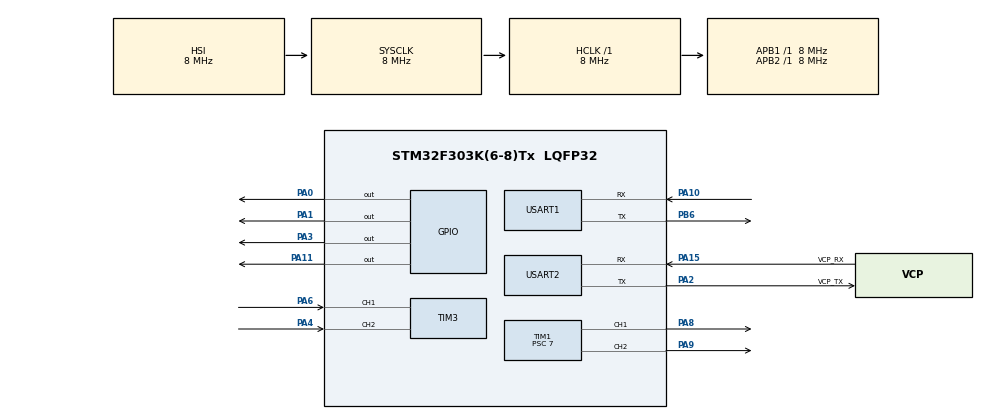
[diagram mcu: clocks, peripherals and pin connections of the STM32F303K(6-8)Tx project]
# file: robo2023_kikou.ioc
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Mcu.Family=STM32F3
Mcu.Name=STM32F303K(6-8)Tx
Mcu.Package=LQFP32
NVIC.PriorityGroup=NVIC_PRIORITYGROUP_4
NVIC.TIM3_IRQn=true\:0\:0\:false\:false\:true\:true\:true\:true
NVIC.USART1_IRQn=true\:0\:0\:false\:false\:true\:true\:true\:true
PA0.Signal=GPIO_Output
PA1.Signal=GPIO_Output
PA10.Mode=Asynchronous
PA10.Signal=USART1_RX
PA11.Signal=GPIO_Output
PA13.GPIO_Label=SWDIO
PA13.Mode=Serial_Wire
PA13.Signal=SYS_JTMS-SWDIO
PA14.GPIO_Label=SWCLK
PA14.Mode=Serial_Wire
PA14.Signal=SYS_JTCK-SWCLK
PA15.GPIO_Label=VCP_RX
PA15.Mode=Asynchronous
PA15.Signal=USART2_RX
PA2.GPIO_Label=VCP_TX
PA2.Mode=Asynchronous
PA2.Signal=USART2_TX
PA3.Signal=GPIO_Output
PA4.Signal=S_TIM3_CH2
PA6.Signal=S_TIM3_CH1
PA8.Signal=S_TIM1_CH1
PA9.Signal=S_TIM1_CH2
PB6.Mode=Asynchronous
PB6.Signal=USART1_TX
PF0\ /\ OSC_IN.GPIO_Label=MCO
PF0\ /\ OSC_IN.Mode=HSE-External-Clock-Source
PF0\ /\ OSC_IN.Signal=RCC_OSC_IN
ProjectManager.HeapSize=0x200
ProjectManager.StackSize=0x400
ProjectManager.TargetToolchain=STM32CubeIDE
RCC.AHBFreq_Value=8000000
RCC.APB1Freq_Value=8000000
RCC.APB2Freq_Value=8000000
RCC.CortexFreq_Value=8000000
RCC.HSE_VALUE=8000000
RCC.HSI_VALUE=8000000
RCC.SYSCLKFreq_VALUE=8000000
SH.S_TIM1_CH1.0=TIM1_CH1,PWM Generation1 CH1
SH.S_TIM1_CH2.0=TIM1_CH2,PWM Generation2 CH2
SH.S_TIM3_CH1.0=TIM3_CH1,Encoder_Interface
SH.S_TIM3_CH2.0=TIM3_CH2,Encoder_Interface
TIM1.Channel-PWM\ Generation1\ CH1=TIM_CHANNEL_1
TIM1.Channel-PWM\ Generation2\ CH2=TIM_CHANNEL_2
TIM1.Period=999
TIM1.Prescaler=7
TIM3.EncoderMode=TIM_ENCODERMODE_TI12
USART1.VirtualMode-Asynchronous=VM_ASYNC
USART2.VirtualMode-Asynchronous=VM_ASYNC
board=NUCLEO-F303K8

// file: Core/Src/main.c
/* USER CODE BEGIN Header */
/**
  ******************************************************************************
  * @file           : main.c
  * @brief          : Main program body
  ******************************************************************************
  * @attention
  *
  * Copyright (c) 2023 STMicroelectronics.
  * All rights reserved.
  *
  * This software is licensed under terms that can be found in the LICENSE file
  * in the root directory of this software component.
  * If no LICENSE file comes with this software, it is provided AS-IS.
  *
  ******************************************************************************
  */
/* USER CODE END Header */
#include "main.h"

/* USER CODE BEGIN Includes */
#include <stdio.h>
#include <string.h>
#include <stdlib.h>
#include <math.h>
/* USER CODE END Includes */

TIM_HandleTypeDef htim1;
TIM_HandleTypeDef htim3;

UART_HandleTypeDef huart1;
UART_HandleTypeDef huart2;

void SystemClock_Config(void);
static void MX_GPIO_Init(void);
static void MX_USART2_UART_Init(void);
static void MX_TIM1_Init(void);
static void MX_USART1_UART_Init(void);
static void MX_TIM3_Init(void);

/* USER CODE BEGIN 0 */
#define RX_BUFFER_SIZE 64
uint8_t rxBuffer[RX_BUFFER_SIZE];
uint32_t rxIndex = 0;
char string[RX_BUFFER_SIZE];

void copy()
{
	for(int i=0;i<RX_BUFFER_SIZE;i++)
	{
		string[i]=rxBuffer[i];
	}
}

void HAL_UART_RxCpltCallback(UART_HandleTypeDef *huart)
{
  if (huart == &huart1)
  {
	  if (rxBuffer[rxIndex - 1] == '\r')
	  {
		  //Buffer-setting
		  rxBuffer[rxIndex] = '\0';
		  //HAL_UART_Transmit(&huart2, rxBuffer, rxIndex, HAL_MAX_DELAY);
		  copy(); //Copy string from Buffer
		  rxIndex = 0;
		  memset(rxBuffer, '\0', RX_BUFFER_SIZE); //バッファをクリア
	  }
	  //receive
	  HAL_UART_Receive_IT(&huart1, &rxBuffer[rxIndex], 1);
	  rxIndex++;
  }
}

//オーバ�???��?��フロー・アン??��?��?ーフローの回数をカウントするグローバル変数
int overflowcnt = 0;
//オーバ�???��?��フローアン??��?��?ーフローすると自動的に呼ばれる関数
void HAL_TIM_PeriodElapsedCallback(TIM_HandleTypeDef* htim)
{
        //??��?��?バッグ用の出力，消してよい???��?��?
    //HAL_UART_Transmit( &huart2, "OVERFLOW!\r\n", 12, 0xFFFF);
        //こ�???��?��関数自体�???��?��TIM3で無くても呼ばれてしま??��?��?可能性がある�???��?��で???��?��??��?��TIM3の割り込みであることを確認す??��?��?
    if(htim->Instance == TIM3){
                //割り込みフラグクリア???��?��??��?��これをしな??��?��?とこ�???��?��関数が�?数回呼び出され??��?��?
        __HAL_TIM_CLEAR_FLAG(&htim3, TIM_IT_UPDATE);
        if(__HAL_TIM_IS_TIM_COUNTING_DOWN(&htim3)) //0 ??��?��? 65535
        {
            overflowcnt --;
        }
        else //65535 ??��?��? 0
        {
            overflowcnt ++;
        }
    }
}
/* USER CODE END 0 */

int main(void)
{
  /* USER CODE BEGIN 1 */
	int i,j=0;
	float r,arg;
	int dash,above,gather;
	char moji[RX_BUFFER_SIZE];
	char test[32];
	char w1[7],w2[7],w3[2],w4[2],w5[3];

	int reset;
	char check[RX_BUFFER_SIZE];
	memset(check,'\0',RX_BUFFER_SIZE);
  /* USER CODE END 1 */

  /* MCU Configuration--------------------------------------------------------*/

  /* Reset of all peripherals, Initializes the Flash interface and the Systick. */
  HAL_Init();

  /* Configure the system clock */
  SystemClock_Config();

  /* Initialize all configured peripherals */
  MX_GPIO_Init();
  MX_USART2_UART_Init();
  MX_TIM1_Init();
  MX_USART1_UART_Init();
  MX_TIM3_Init();
  /* USER CODE BEGIN 2 */
  if(HAL_TIM_PWM_Start(&htim1,TIM_CHANNEL_1) != HAL_OK){Error_Handler();}
  if(HAL_TIM_PWM_Start(&htim1,TIM_CHANNEL_2) != HAL_OK){Error_Handler();}

  HAL_UART_Receive_IT(&huart1, rxBuffer, 1);

  HAL_TIM_Encoder_Start(&htim3,TIM_CHANNEL_ALL);  //エンコー??��?��?読み取りスター??��?��?
  HAL_TIM_Base_Start_IT(&htim3);  //割り込み有効??��?��?
  int cnt;
  overflowcnt = 0;

  //file-reading
  /*FILE *fp = NULL;
  char f[256] = "enc.txt";
  fp = fopen( f, "r" );
  fscanf(fp,"%d",&cnt);
  fclose(fp);*/
  /* USER CODE END 2 */

  /* Infinite loop */
  /* USER CODE BEGIN WHILE */
  while (1)
  {
	  //string-init
	  memset(moji,'\0',RX_BUFFER_SIZE);
	  memset(test,'\0',32);
	  memset(w1,'\0',7);
	  memset(w2,'\0',7);
	  memset(w3,'\0',2);
	  memset(w4,'\0',2);
	  memset(w5,'\0',3);
	  //start-uart
	  HAL_UART_Receive_IT(&huart1, rxBuffer, 1);
	  //string-set
	  for(i=0;i<RX_BUFFER_SIZE;i++)//
	  {
		  moji[j]=string[i];
		  if(moji[j] == '\r')
		  {
			  j=0;
			  break;
		  }
		  else if(moji[j] != '\0')
		  {
			  j++;
		  }
	  }
	  //value-set
	  for(i=0;i<6;i++)
	  {
		  w1[i]=moji[2+i];
		  w2[i]=moji[13+i];
	  }
	  w3[0]=moji[25];
	  w4[0]=moji[33];
	  for(i=0;i<2;i++)
	  {
		  w5[i]=moji[42+i];
	  }
	  r = atoff(w1);
	  arg = atoff(w2);
	  dash = atoi(w3);
	  above = atoi(w4);
	  gather = atoi(w5);
    /* USER CODE END WHILE */

    /* USER CODE BEGIN 3 */
	  cnt = (long)(overflowcnt) * 0x10000 + (long)TIM3 -> CNT;
	  snprintf(test,32,"%d,%2d,%6d\n\r",above,gather,cnt);
	  HAL_UART_Transmit(&huart2, (uint8_t*)test, 32,HAL_MAX_DELAY);
	  //snprintf(usr_buf,RX_BUFFER_SIZE,"Encoder: %d\n\r",count);
	  //HAL_UART_Transmit(&huart2, (uint8_t *)usr_buf, sizeof(usr_buf), 100);
	  //HAL_Delay(1000);

	  if(gather==1)//switch1-on
	  {
		  HAL_GPIO_WritePin(GPIOA,GPIO_PIN_0,GPIO_PIN_SET);
		  __HAL_TIM_SET_COMPARE(&htim1,TIM_CHANNEL_1,300);
	  }
	  else if(gather==-1)//switch2-on
	  {
		  HAL_GPIO_WritePin(GPIOA,GPIO_PIN_0,GPIO_PIN_RESET);
		  __HAL_TIM_SET_COMPARE(&htim1,TIM_CHANNEL_1,300);
	  }
	  else//switch2-off
   	  {
		  __HAL_TIM_SET_COMPARE(&htim1,TIM_CHANNEL_1,0);
	  }

	  if(above==1)//switch3-on
	  {
		  HAL_GPIO_WritePin(GPIOA,GPIO_PIN_3,GPIO_PIN_SET);
		  __HAL_TIM_SET_COMPARE(&htim1,TIM_CHANNEL_2,300);
	  }
	  else//switch3-off
	  {
		  __HAL_TIM_SET_COMPARE(&htim1,TIM_CHANNEL_2,0);
	  }

	  //string-reset
	  if(strcmp(moji,check)==0)
	  {
		  reset++;
	  }
	  else
	  {
		  reset=0;
		  memset(check,'\0',RX_BUFFER_SIZE);
	  }
	  if(reset>=25)
	  {
		  HAL_GPIO_WritePin(GPIOA, GPIO_PIN_11, GPIO_PIN_RESET);
		  memset(string,'\0',RX_BUFFER_SIZE);
	  }
	  else
	  {
		  HAL_GPIO_WritePin(GPIOA, GPIO_PIN_11, GPIO_PIN_SET);
	  }
	  strcpy(check,moji);
  }

  //file-writing
  /*fp = fopen( f, "w" );
  fprintf(fp,"%d\n",cnt);
  fclose(fp);*/
  /* USER CODE END 3 */
}

void SystemClock_Config(void)
{
  RCC_OscInitTypeDef RCC_OscInitStruct = {0};
  RCC_ClkInitTypeDef RCC_ClkInitStruct = {0};
  RCC_PeriphCLKInitTypeDef PeriphClkInit = {0};

  /** Initializes the RCC Oscillators according to the specified parameters
  * in the RCC_OscInitTypeDef structure.
  */
  RCC_OscInitStruct.OscillatorType = RCC_OSCILLATORTYPE_HSI;
  RCC_OscInitStruct.HSIState = RCC_HSI_ON;
  RCC_OscInitStruct.HSICalibrationValue = RCC_HSICALIBRATION_DEFAULT;
  RCC_OscInitStruct.PLL.PLLState = RCC_PLL_NONE;
  if (HAL_RCC_OscConfig(&RCC_OscInitStruct) != HAL_OK)
  {
    Error_Handler();
  }

  /** Initializes the CPU, AHB and APB buses clocks
  */
  RCC_ClkInitStruct.ClockType = RCC_CLOCKTYPE_HCLK|RCC_CLOCKTYPE_SYSCLK
                              |RCC_CLOCKTYPE_PCLK1|RCC_CLOCKTYPE_PCLK2;
  RCC_ClkInitStruct.SYSCLKSource = RCC_SYSCLKSOURCE_HSI;
  RCC_ClkInitStruct.AHBCLKDivider = RCC_SYSCLK_DIV1;
  RCC_ClkInitStruct.APB1CLKDivider = RCC_HCLK_DIV1;
  RCC_ClkInitStruct.APB2CLKDivider = RCC_HCLK_DIV1;

  if (HAL_RCC_ClockConfig(&RCC_ClkInitStruct, FLASH_LATENCY_0) != HAL_OK)
  {
    Error_Handler();
  }
  PeriphClkInit.PeriphClockSelection = RCC_PERIPHCLK_USART1|RCC_PERIPHCLK_TIM1;
  PeriphClkInit.Usart1ClockSelection = RCC_USART1CLKSOURCE_PCLK1;
  PeriphClkInit.Tim1ClockSelection = RCC_TIM1CLK_HCLK;
  if (HAL_RCCEx_PeriphCLKConfig(&PeriphClkInit) != HAL_OK)
  {
    Error_Handler();
  }
}

static void MX_TIM1_Init(void)
{

  TIM_MasterConfigTypeDef sMasterConfig = {0};
  TIM_OC_InitTypeDef sConfigOC = {0};
  TIM_BreakDeadTimeConfigTypeDef sBreakDeadTimeConfig = {0};

  htim1.Instance = TIM1;
  htim1.Init.Prescaler = 7;
  htim1.Init.CounterMode = TIM_COUNTERMODE_UP;
  htim1.Init.Period = 999;
  htim1.Init.ClockDivision = TIM_CLOCKDIVISION_DIV1;
  htim1.Init.RepetitionCounter = 0;
  htim1.Init.AutoReloadPreload = TIM_AUTORELOAD_PRELOAD_DISABLE;
  if (HAL_TIM_PWM_Init(&htim1) != HAL_OK)
  {
    Error_Handler();
  }
  sMasterConfig.MasterOutputTrigger = TIM_TRGO_RESET;
  sMasterConfig.MasterOutputTrigger2 = TIM_TRGO2_RESET;
  sMasterConfig.MasterSlaveMode = TIM_MASTERSLAVEMODE_DISABLE;
  if (HAL_TIMEx_MasterConfigSynchronization(&htim1, &sMasterConfig) != HAL_OK)
  {
    Error_Handler();
  }
  sConfigOC.OCMode = TIM_OCMODE_PWM1;
  sConfigOC.Pulse = 0;
  sConfigOC.OCPolarity = TIM_OCPOLARITY_HIGH;
  sConfigOC.OCNPolarity = TIM_OCNPOLARITY_HIGH;
  sConfigOC.OCFastMode = TIM_OCFAST_DISABLE;
  sConfigOC.OCIdleState = TIM_OCIDLESTATE_RESET;
  sConfigOC.OCNIdleState = TIM_OCNIDLESTATE_RESET;
  if (HAL_TIM_PWM_ConfigChannel(&htim1, &sConfigOC, TIM_CHANNEL_1) != HAL_OK)
  {
    Error_Handler();
  }
  if (HAL_TIM_PWM_ConfigChannel(&htim1, &sConfigOC, TIM_CHANNEL_2) != HAL_OK)
  {
    Error_Handler();
  }
  sBreakDeadTimeConfig.OffStateRunMode = TIM_OSSR_DISABLE;
  sBreakDeadTimeConfig.OffStateIDLEMode = TIM_OSSI_DISABLE;
  sBreakDeadTimeConfig.LockLevel = TIM_LOCKLEVEL_OFF;
  sBreakDeadTimeConfig.DeadTime = 0;
  sBreakDeadTimeConfig.BreakState = TIM_BREAK_DISABLE;
  sBreakDeadTimeConfig.BreakPolarity = TIM_BREAKPOLARITY_HIGH;
  sBreakDeadTimeConfig.BreakFilter = 0;
  sBreakDeadTimeConfig.Break2State = TIM_BREAK2_DISABLE;
  sBreakDeadTimeConfig.Break2Polarity = TIM_BREAK2POLARITY_HIGH;
  sBreakDeadTimeConfig.Break2Filter = 0;
  sBreakDeadTimeConfig.AutomaticOutput = TIM_AUTOMATICOUTPUT_DISABLE;
  if (HAL_TIMEx_ConfigBreakDeadTime(&htim1, &sBreakDeadTimeConfig) != HAL_OK)
  {
    Error_Handler();
  }
  HAL_TIM_MspPostInit(&htim1);

}

static void MX_TIM3_Init(void)
{

  TIM_Encoder_InitTypeDef sConfig = {0};
  TIM_MasterConfigTypeDef sMasterConfig = {0};

  htim3.Instance = TIM3;
  htim3.Init.Prescaler = 0;
  htim3.Init.CounterMode = TIM_COUNTERMODE_UP;
  htim3.Init.Period = 65535;
  htim3.Init.ClockDivision = TIM_CLOCKDIVISION_DIV1;
  htim3.Init.AutoReloadPreload = TIM_AUTORELOAD_PRELOAD_DISABLE;
  sConfig.EncoderMode = TIM_ENCODERMODE_TI12;
  sConfig.IC1Polarity = TIM_ICPOLARITY_RISING;
  sConfig.IC1Selection = TIM_ICSELECTION_DIRECTTI;
  sConfig.IC1Prescaler = TIM_ICPSC_DIV1;
  sConfig.IC1Filter = 0;
  sConfig.IC2Polarity = TIM_ICPOLARITY_RISING;
  sConfig.IC2Selection = TIM_ICSELECTION_DIRECTTI;
  sConfig.IC2Prescaler = TIM_ICPSC_DIV1;
  sConfig.IC2Filter = 0;
  if (HAL_TIM_Encoder_Init(&htim3, &sConfig) != HAL_OK)
  {
    Error_Handler();
  }
  sMasterConfig.MasterOutputTrigger = TIM_TRGO_RESET;
  sMasterConfig.MasterSlaveMode = TIM_MASTERSLAVEMODE_DISABLE;
  if (HAL_TIMEx_MasterConfigSynchronization(&htim3, &sMasterConfig) != HAL_OK)
  {
    Error_Handler();
  }

}

static void MX_USART1_UART_Init(void)
{

  huart1.Instance = USART1;
  huart1.Init.BaudRate = 38400;
  huart1.Init.WordLength = UART_WORDLENGTH_8B;
  huart1.Init.StopBits = UART_STOPBITS_1;
  huart1.Init.Parity = UART_PARITY_NONE;
  huart1.Init.Mode = UART_MODE_TX_RX;
  huart1.Init.HwFlowCtl = UART_HWCONTROL_NONE;
  huart1.Init.OverSampling = UART_OVERSAMPLING_16;
  huart1.Init.OneBitSampling = UART_ONE_BIT_SAMPLE_DISABLE;
  huart1.AdvancedInit.AdvFeatureInit = UART_ADVFEATURE_NO_INIT;
  if (HAL_UART_Init(&huart1) != HAL_OK)
  {
    Error_Handler();
  }

}

static void MX_USART2_UART_Init(void)
{

  huart2.Instance = USART2;
  huart2.Init.BaudRate = 38400;
  huart2.Init.WordLength = UART_WORDLENGTH_8B;
  huart2.Init.StopBits = UART_STOPBITS_1;
  huart2.Init.Parity = UART_PARITY_NONE;
  huart2.Init.Mode = UART_MODE_TX_RX;
  huart2.Init.HwFlowCtl = UART_HWCONTROL_NONE;
  huart2.Init.OverSampling = UART_OVERSAMPLING_16;
  huart2.Init.OneBitSampling = UART_ONE_BIT_SAMPLE_DISABLE;
  huart2.AdvancedInit.AdvFeatureInit = UART_ADVFEATURE_NO_INIT;
  if (HAL_UART_Init(&huart2) != HAL_OK)
  {
    Error_Handler();
  }

}

static void MX_GPIO_Init(void)
{
  GPIO_InitTypeDef GPIO_InitStruct = {0};

  /* GPIO Ports Clock Enable */
  __HAL_RCC_GPIOF_CLK_ENABLE();
  __HAL_RCC_GPIOA_CLK_ENABLE();
  __HAL_RCC_GPIOB_CLK_ENABLE();

  /*Configure GPIO pin Output Level */
  HAL_GPIO_WritePin(GPIOA, GPIO_PIN_0|GPIO_PIN_1|GPIO_PIN_3|GPIO_PIN_11, GPIO_PIN_RESET);

  /*Configure GPIO pins : PA0 PA1 PA3 PA11 */
  GPIO_InitStruct.Pin = GPIO_PIN_0|GPIO_PIN_1|GPIO_PIN_3|GPIO_PIN_11;
  GPIO_InitStruct.Mode = GPIO_MODE_OUTPUT_PP;
  GPIO_InitStruct.Pull = GPIO_NOPULL;
  GPIO_InitStruct.Speed = GPIO_SPEED_FREQ_LOW;
  HAL_GPIO_Init(GPIOA, &GPIO_InitStruct);

}

void Error_Handler(void)
{
  __disable_irq();
  while (1)
  {
  }
}
